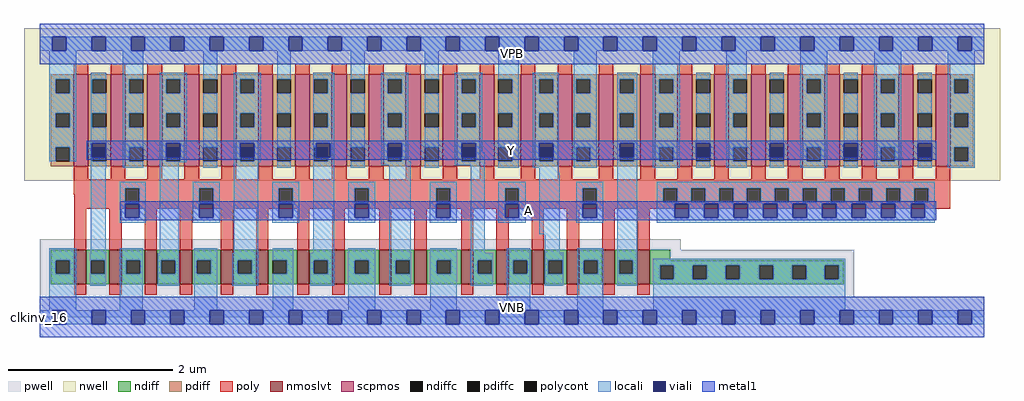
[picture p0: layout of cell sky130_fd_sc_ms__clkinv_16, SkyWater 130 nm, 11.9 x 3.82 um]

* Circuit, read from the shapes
.subckt sky130_fd_sc_ms__clkinv_16 A VGND VNB VPB VPWR Y
XM1 Y A VGND VNB sky130_fd_pr__nfet_01v8_lvt w=0.42 l=0.15 m=16
XM2 Y A VPWR VPB sky130_fd_pr__pfet_01v8 w=1.12 l=0.18 m=24
.ends

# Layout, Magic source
magic
tech sky130A
magscale 1 2
<< nwell >>
rect -38 332 2342 704
<< pwell >>
rect 1 164 1564 190
rect 1 49 1987 164
rect 0 0 2304 49
<< scpmos >>
rect 83 368 119 592
rect 173 368 209 592
rect 263 368 299 592
rect 353 368 389 592
rect 443 368 479 592
rect 533 368 569 592
rect 623 368 659 592
rect 713 368 749 592
rect 803 368 839 592
rect 893 368 929 592
rect 983 368 1019 592
rect 1073 368 1109 592
rect 1173 368 1209 592
rect 1263 368 1299 592
rect 1363 368 1399 592
rect 1465 368 1501 592
rect 1555 368 1591 592
rect 1645 368 1681 592
rect 1735 368 1771 592
rect 1825 368 1861 592
rect 1915 368 1951 592
rect 2005 368 2041 592
rect 2095 368 2131 592
rect 2185 368 2221 592
<< nmoslvt >>
rect 84 80 114 164
rect 170 80 200 164
rect 256 80 286 164
rect 342 80 372 164
rect 442 80 472 164
rect 528 80 558 164
rect 628 80 658 164
rect 714 80 744 164
rect 828 80 858 164
rect 914 80 944 164
rect 1028 80 1058 164
rect 1114 80 1144 164
rect 1200 80 1230 164
rect 1286 80 1316 164
rect 1372 80 1402 164
rect 1458 80 1488 164
<< ndiff >>
rect 27 139 84 164
rect 27 105 39 139
rect 73 105 84 139
rect 27 80 84 105
rect 114 139 170 164
rect 114 105 125 139
rect 159 105 170 139
rect 114 80 170 105
rect 200 139 256 164
rect 200 105 211 139
rect 245 105 256 139
rect 200 80 256 105
rect 286 139 342 164
rect 286 105 297 139
rect 331 105 342 139
rect 286 80 342 105
rect 372 139 442 164
rect 372 105 383 139
rect 417 105 442 139
rect 372 80 442 105
rect 472 139 528 164
rect 472 105 483 139
rect 517 105 528 139
rect 472 80 528 105
rect 558 139 628 164
rect 558 105 569 139
rect 603 105 628 139
rect 558 80 628 105
rect 658 139 714 164
rect 658 105 669 139
rect 703 105 714 139
rect 658 80 714 105
rect 744 139 828 164
rect 744 105 769 139
rect 803 105 828 139
rect 744 80 828 105
rect 858 139 914 164
rect 858 105 869 139
rect 903 105 914 139
rect 858 80 914 105
rect 944 139 1028 164
rect 944 105 969 139
rect 1003 105 1028 139
rect 944 80 1028 105
rect 1058 139 1114 164
rect 1058 105 1069 139
rect 1103 105 1114 139
rect 1058 80 1114 105
rect 1144 139 1200 164
rect 1144 105 1155 139
rect 1189 105 1200 139
rect 1144 80 1200 105
rect 1230 139 1286 164
rect 1230 105 1241 139
rect 1275 105 1286 139
rect 1230 80 1286 105
rect 1316 139 1372 164
rect 1316 105 1327 139
rect 1361 105 1372 139
rect 1316 80 1372 105
rect 1402 139 1458 164
rect 1402 105 1413 139
rect 1447 105 1458 139
rect 1402 80 1458 105
rect 1488 138 1538 164
rect 1488 126 1961 138
rect 1488 92 1513 126
rect 1547 92 1593 126
rect 1627 92 1673 126
rect 1707 92 1755 126
rect 1789 92 1835 126
rect 1869 92 1915 126
rect 1949 92 1961 126
rect 1488 80 1961 92
<< pdiff >>
rect 27 580 83 592
rect 27 546 39 580
rect 73 546 83 580
rect 27 497 83 546
rect 27 463 39 497
rect 73 463 83 497
rect 27 414 83 463
rect 27 380 39 414
rect 73 380 83 414
rect 27 368 83 380
rect 119 580 173 592
rect 119 546 129 580
rect 163 546 173 580
rect 119 497 173 546
rect 119 463 129 497
rect 163 463 173 497
rect 119 414 173 463
rect 119 380 129 414
rect 163 380 173 414
rect 119 368 173 380
rect 209 580 263 592
rect 209 546 219 580
rect 253 546 263 580
rect 209 497 263 546
rect 209 463 219 497
rect 253 463 263 497
rect 209 414 263 463
rect 209 380 219 414
rect 253 380 263 414
rect 209 368 263 380
rect 299 580 353 592
rect 299 546 309 580
rect 343 546 353 580
rect 299 497 353 546
rect 299 463 309 497
rect 343 463 353 497
rect 299 414 353 463
rect 299 380 309 414
rect 343 380 353 414
rect 299 368 353 380
rect 389 580 443 592
rect 389 546 399 580
rect 433 546 443 580
rect 389 497 443 546
rect 389 463 399 497
rect 433 463 443 497
rect 389 414 443 463
rect 389 380 399 414
rect 433 380 443 414
rect 389 368 443 380
rect 479 580 533 592
rect 479 546 489 580
rect 523 546 533 580
rect 479 497 533 546
rect 479 463 489 497
rect 523 463 533 497
rect 479 414 533 463
rect 479 380 489 414
rect 523 380 533 414
rect 479 368 533 380
rect 569 580 623 592
rect 569 546 579 580
rect 613 546 623 580
rect 569 497 623 546
rect 569 463 579 497
rect 613 463 623 497
rect 569 414 623 463
rect 569 380 579 414
rect 613 380 623 414
rect 569 368 623 380
rect 659 580 713 592
rect 659 546 669 580
rect 703 546 713 580
rect 659 497 713 546
rect 659 463 669 497
rect 703 463 713 497
rect 659 414 713 463
rect 659 380 669 414
rect 703 380 713 414
rect 659 368 713 380
rect 749 580 803 592
rect 749 546 759 580
rect 793 546 803 580
rect 749 497 803 546
rect 749 463 759 497
rect 793 463 803 497
rect 749 414 803 463
rect 749 380 759 414
rect 793 380 803 414
rect 749 368 803 380
rect 839 580 893 592
rect 839 546 849 580
rect 883 546 893 580
rect 839 497 893 546
rect 839 463 849 497
rect 883 463 893 497
rect 839 414 893 463
rect 839 380 849 414
rect 883 380 893 414
rect 839 368 893 380
rect 929 580 983 592
rect 929 546 939 580
rect 973 546 983 580
rect 929 497 983 546
rect 929 463 939 497
rect 973 463 983 497
rect 929 414 983 463
rect 929 380 939 414
rect 973 380 983 414
rect 929 368 983 380
rect 1019 580 1073 592
rect 1019 546 1029 580
rect 1063 546 1073 580
rect 1019 497 1073 546
rect 1019 463 1029 497
rect 1063 463 1073 497
rect 1019 414 1073 463
rect 1019 380 1029 414
rect 1063 380 1073 414
rect 1019 368 1073 380
rect 1109 580 1173 592
rect 1109 546 1119 580
rect 1153 546 1173 580
rect 1109 497 1173 546
rect 1109 463 1119 497
rect 1153 463 1173 497
rect 1109 414 1173 463
rect 1109 380 1119 414
rect 1153 380 1173 414
rect 1109 368 1173 380
rect 1209 580 1263 592
rect 1209 546 1219 580
rect 1253 546 1263 580
rect 1209 497 1263 546
rect 1209 463 1219 497
rect 1253 463 1263 497
rect 1209 414 1263 463
rect 1209 380 1219 414
rect 1253 380 1263 414
rect 1209 368 1263 380
rect 1299 580 1363 592
rect 1299 546 1309 580
rect 1343 546 1363 580
rect 1299 497 1363 546
rect 1299 463 1309 497
rect 1343 463 1363 497
rect 1299 414 1363 463
rect 1299 380 1309 414
rect 1343 380 1363 414
rect 1299 368 1363 380
rect 1399 580 1465 592
rect 1399 546 1415 580
rect 1449 546 1465 580
rect 1399 497 1465 546
rect 1399 463 1415 497
rect 1449 463 1465 497
rect 1399 414 1465 463
rect 1399 380 1415 414
rect 1449 380 1465 414
rect 1399 368 1465 380
rect 1501 580 1555 592
rect 1501 546 1511 580
rect 1545 546 1555 580
rect 1501 497 1555 546
rect 1501 463 1511 497
rect 1545 463 1555 497
rect 1501 414 1555 463
rect 1501 380 1511 414
rect 1545 380 1555 414
rect 1501 368 1555 380
rect 1591 580 1645 592
rect 1591 546 1601 580
rect 1635 546 1645 580
rect 1591 497 1645 546
rect 1591 463 1601 497
rect 1635 463 1645 497
rect 1591 414 1645 463
rect 1591 380 1601 414
rect 1635 380 1645 414
rect 1591 368 1645 380
rect 1681 580 1735 592
rect 1681 546 1691 580
rect 1725 546 1735 580
rect 1681 497 1735 546
rect 1681 463 1691 497
rect 1725 463 1735 497
rect 1681 414 1735 463
rect 1681 380 1691 414
rect 1725 380 1735 414
rect 1681 368 1735 380
rect 1771 580 1825 592
rect 1771 546 1781 580
rect 1815 546 1825 580
rect 1771 497 1825 546
rect 1771 463 1781 497
rect 1815 463 1825 497
rect 1771 414 1825 463
rect 1771 380 1781 414
rect 1815 380 1825 414
rect 1771 368 1825 380
rect 1861 580 1915 592
rect 1861 546 1871 580
rect 1905 546 1915 580
rect 1861 497 1915 546
rect 1861 463 1871 497
rect 1905 463 1915 497
rect 1861 414 1915 463
rect 1861 380 1871 414
rect 1905 380 1915 414
rect 1861 368 1915 380
rect 1951 580 2005 592
rect 1951 546 1961 580
rect 1995 546 2005 580
rect 1951 497 2005 546
rect 1951 463 1961 497
rect 1995 463 2005 497
rect 1951 414 2005 463
rect 1951 380 1961 414
rect 1995 380 2005 414
rect 1951 368 2005 380
rect 2041 580 2095 592
rect 2041 546 2051 580
rect 2085 546 2095 580
rect 2041 497 2095 546
rect 2041 463 2051 497
rect 2085 463 2095 497
rect 2041 414 2095 463
rect 2041 380 2051 414
rect 2085 380 2095 414
rect 2041 368 2095 380
rect 2131 580 2185 592
rect 2131 546 2141 580
rect 2175 546 2185 580
rect 2131 497 2185 546
rect 2131 463 2141 497
rect 2175 463 2185 497
rect 2131 414 2185 463
rect 2131 380 2141 414
rect 2175 380 2185 414
rect 2131 368 2185 380
rect 2221 580 2277 592
rect 2221 546 2231 580
rect 2265 546 2277 580
rect 2221 497 2277 546
rect 2221 463 2231 497
rect 2265 463 2277 497
rect 2221 414 2277 463
rect 2221 380 2231 414
rect 2265 380 2277 414
rect 2221 368 2277 380
<< ndiffc >>
rect 39 105 73 139
rect 125 105 159 139
rect 211 105 245 139
rect 297 105 331 139
rect 383 105 417 139
rect 483 105 517 139
rect 569 105 603 139
rect 669 105 703 139
rect 769 105 803 139
rect 869 105 903 139
rect 969 105 1003 139
rect 1069 105 1103 139
rect 1155 105 1189 139
rect 1241 105 1275 139
rect 1327 105 1361 139
rect 1413 105 1447 139
rect 1513 92 1547 126
rect 1593 92 1627 126
rect 1673 92 1707 126
rect 1755 92 1789 126
rect 1835 92 1869 126
rect 1915 92 1949 126
<< pdiffc >>
rect 39 546 73 580
rect 39 463 73 497
rect 39 380 73 414
rect 129 546 163 580
rect 129 463 163 497
rect 129 380 163 414
rect 219 546 253 580
rect 219 463 253 497
rect 219 380 253 414
rect 309 546 343 580
rect 309 463 343 497
rect 309 380 343 414
rect 399 546 433 580
rect 399 463 433 497
rect 399 380 433 414
rect 489 546 523 580
rect 489 463 523 497
rect 489 380 523 414
rect 579 546 613 580
rect 579 463 613 497
rect 579 380 613 414
rect 669 546 703 580
rect 669 463 703 497
rect 669 380 703 414
rect 759 546 793 580
rect 759 463 793 497
rect 759 380 793 414
rect 849 546 883 580
rect 849 463 883 497
rect 849 380 883 414
rect 939 546 973 580
rect 939 463 973 497
rect 939 380 973 414
rect 1029 546 1063 580
rect 1029 463 1063 497
rect 1029 380 1063 414
rect 1119 546 1153 580
rect 1119 463 1153 497
rect 1119 380 1153 414
rect 1219 546 1253 580
rect 1219 463 1253 497
rect 1219 380 1253 414
rect 1309 546 1343 580
rect 1309 463 1343 497
rect 1309 380 1343 414
rect 1415 546 1449 580
rect 1415 463 1449 497
rect 1415 380 1449 414
rect 1511 546 1545 580
rect 1511 463 1545 497
rect 1511 380 1545 414
rect 1601 546 1635 580
rect 1601 463 1635 497
rect 1601 380 1635 414
rect 1691 546 1725 580
rect 1691 463 1725 497
rect 1691 380 1725 414
rect 1781 546 1815 580
rect 1781 463 1815 497
rect 1781 380 1815 414
rect 1871 546 1905 580
rect 1871 463 1905 497
rect 1871 380 1905 414
rect 1961 546 1995 580
rect 1961 463 1995 497
rect 1961 380 1995 414
rect 2051 546 2085 580
rect 2051 463 2085 497
rect 2051 380 2085 414
rect 2141 546 2175 580
rect 2141 463 2175 497
rect 2141 380 2175 414
rect 2231 546 2265 580
rect 2231 463 2265 497
rect 2231 380 2265 414
<< poly >>
rect 83 592 119 618
rect 173 592 209 618
rect 263 592 299 618
rect 353 592 389 618
rect 443 592 479 618
rect 533 592 569 618
rect 623 592 659 618
rect 713 592 749 618
rect 803 592 839 618
rect 893 592 929 618
rect 983 592 1019 618
rect 1073 592 1109 618
rect 1173 592 1209 618
rect 1263 592 1299 618
rect 1363 592 1399 618
rect 1465 592 1501 618
rect 1555 592 1591 618
rect 1645 592 1681 618
rect 1735 592 1771 618
rect 1825 592 1861 618
rect 1915 592 1951 618
rect 2005 592 2041 618
rect 2095 592 2131 618
rect 2185 592 2221 618
rect 83 336 119 368
rect 173 336 209 368
rect 263 336 299 368
rect 353 336 389 368
rect 443 336 479 368
rect 533 336 569 368
rect 623 336 659 368
rect 713 336 749 368
rect 803 336 839 368
rect 893 336 929 368
rect 983 336 1019 368
rect 1073 336 1109 368
rect 1173 336 1209 368
rect 1263 336 1299 368
rect 1363 336 1399 368
rect 1465 336 1501 368
rect 1555 336 1591 368
rect 1645 336 1681 368
rect 1735 336 1771 368
rect 1825 336 1861 368
rect 1915 336 1951 368
rect 2005 336 2041 368
rect 2095 336 2131 368
rect 2185 336 2221 368
rect 83 314 2221 336
rect 83 300 209 314
rect 84 280 209 300
rect 243 280 389 314
rect 423 280 583 314
rect 617 280 769 314
rect 803 280 967 314
rect 1001 280 1135 314
rect 1169 280 1325 314
rect 1359 280 1521 314
rect 1555 280 1589 314
rect 1623 280 1657 314
rect 1691 280 1725 314
rect 1759 280 1793 314
rect 1827 280 1861 314
rect 1895 280 1929 314
rect 1963 280 1997 314
rect 2031 280 2065 314
rect 2099 280 2133 314
rect 2167 280 2221 314
rect 84 264 2221 280
rect 84 164 114 264
rect 170 164 200 264
rect 256 164 286 264
rect 342 164 372 264
rect 442 164 472 264
rect 528 164 558 264
rect 628 164 658 264
rect 714 164 744 264
rect 828 164 858 264
rect 914 164 944 264
rect 1028 164 1058 264
rect 1114 164 1144 264
rect 1200 164 1230 264
rect 1286 164 1316 264
rect 1372 164 1402 264
rect 1458 164 1488 264
rect 84 54 114 80
rect 170 54 200 80
rect 256 54 286 80
rect 342 54 372 80
rect 442 54 472 80
rect 528 54 558 80
rect 628 54 658 80
rect 714 54 744 80
rect 828 54 858 80
rect 914 54 944 80
rect 1028 54 1058 80
rect 1114 54 1144 80
rect 1200 54 1230 80
rect 1286 54 1316 80
rect 1372 54 1402 80
rect 1458 54 1488 80
<< polycont >>
rect 209 280 243 314
rect 389 280 423 314
rect 583 280 617 314
rect 769 280 803 314
rect 967 280 1001 314
rect 1135 280 1169 314
rect 1325 280 1359 314
rect 1521 280 1555 314
rect 1589 280 1623 314
rect 1657 280 1691 314
rect 1725 280 1759 314
rect 1793 280 1827 314
rect 1861 280 1895 314
rect 1929 280 1963 314
rect 1997 280 2031 314
rect 2065 280 2099 314
rect 2133 280 2167 314
<< locali >>
rect 0 649 31 683
rect 65 649 127 683
rect 161 649 223 683
rect 257 649 319 683
rect 353 649 415 683
rect 449 649 511 683
rect 545 649 607 683
rect 641 649 703 683
rect 737 649 799 683
rect 833 649 895 683
rect 929 649 991 683
rect 1025 649 1087 683
rect 1121 649 1183 683
rect 1217 649 1279 683
rect 1313 649 1375 683
rect 1409 649 1471 683
rect 1505 649 1567 683
rect 1601 649 1663 683
rect 1697 649 1759 683
rect 1793 649 1855 683
rect 1889 649 1951 683
rect 1985 649 2047 683
rect 2081 649 2143 683
rect 2177 649 2239 683
rect 2273 649 2304 683
rect 23 580 89 649
rect 23 546 39 580
rect 73 546 89 580
rect 23 497 89 546
rect 23 463 39 497
rect 73 463 89 497
rect 23 414 89 463
rect 23 380 39 414
rect 73 380 89 414
rect 125 580 163 596
rect 125 546 129 580
rect 125 497 163 546
rect 125 463 129 497
rect 125 424 163 463
rect 125 390 127 424
rect 161 414 163 424
rect 125 380 129 390
rect 125 364 163 380
rect 203 580 253 649
rect 203 546 219 580
rect 203 497 253 546
rect 203 463 219 497
rect 203 414 253 463
rect 203 380 219 414
rect 203 364 253 380
rect 293 580 359 596
rect 293 546 309 580
rect 343 546 359 580
rect 293 497 359 546
rect 293 463 309 497
rect 343 463 359 497
rect 293 424 359 463
rect 293 380 309 424
rect 343 380 359 424
rect 293 377 359 380
rect 399 580 433 649
rect 399 497 433 546
rect 399 414 433 463
rect 23 139 89 168
rect 125 155 161 364
rect 195 314 259 330
rect 195 280 209 314
rect 243 280 259 314
rect 195 276 259 280
rect 195 242 209 276
rect 243 242 259 276
rect 195 230 259 242
rect 23 105 39 139
rect 73 105 89 139
rect 23 17 89 105
rect 123 139 161 155
rect 123 105 125 139
rect 159 105 161 139
rect 123 76 161 105
rect 195 139 252 168
rect 293 155 339 377
rect 399 364 433 380
rect 473 580 539 596
rect 473 546 489 580
rect 523 546 539 580
rect 473 497 539 546
rect 473 463 489 497
rect 523 463 539 497
rect 473 424 539 463
rect 473 380 489 424
rect 523 380 539 424
rect 473 377 539 380
rect 579 580 613 649
rect 579 497 613 546
rect 579 414 613 463
rect 373 314 439 330
rect 373 280 389 314
rect 423 280 439 314
rect 373 276 439 280
rect 373 242 389 276
rect 423 242 439 276
rect 373 230 439 242
rect 195 105 211 139
rect 245 105 252 139
rect 195 17 252 105
rect 288 139 340 155
rect 288 105 297 139
rect 331 105 340 139
rect 288 76 340 105
rect 377 139 433 168
rect 473 155 533 377
rect 579 364 613 380
rect 667 580 719 596
rect 667 546 669 580
rect 703 546 719 580
rect 667 497 719 546
rect 667 463 669 497
rect 703 463 719 497
rect 667 424 719 463
rect 667 414 675 424
rect 667 380 669 414
rect 709 390 719 424
rect 703 380 719 390
rect 567 314 633 330
rect 567 280 583 314
rect 617 280 633 314
rect 567 276 633 280
rect 567 242 583 276
rect 617 242 633 276
rect 567 230 633 242
rect 377 105 383 139
rect 417 105 433 139
rect 377 17 433 105
rect 470 139 533 155
rect 470 105 483 139
rect 517 105 533 139
rect 470 76 533 105
rect 569 139 619 168
rect 667 155 719 380
rect 759 580 793 649
rect 759 497 793 546
rect 759 414 793 463
rect 759 364 793 380
rect 833 580 899 596
rect 833 546 849 580
rect 883 546 899 580
rect 833 497 899 546
rect 833 463 849 497
rect 883 463 899 497
rect 833 424 899 463
rect 833 380 849 424
rect 883 380 899 424
rect 939 580 973 649
rect 939 497 973 546
rect 939 414 973 463
rect 833 370 905 380
rect 753 314 819 330
rect 753 280 769 314
rect 803 280 819 314
rect 753 276 819 280
rect 753 242 769 276
rect 803 242 819 276
rect 753 230 819 242
rect 603 105 619 139
rect 569 17 619 105
rect 660 139 719 155
rect 660 105 669 139
rect 703 105 719 139
rect 660 76 719 105
rect 753 139 819 168
rect 753 105 769 139
rect 803 105 819 139
rect 753 17 819 105
rect 853 139 905 370
rect 939 364 973 380
rect 1013 580 1079 596
rect 1013 546 1029 580
rect 1063 546 1079 580
rect 1013 497 1079 546
rect 1013 463 1029 497
rect 1063 463 1079 497
rect 1013 424 1079 463
rect 1013 380 1029 424
rect 1063 402 1079 424
rect 1119 580 1169 649
rect 1153 546 1169 580
rect 1119 497 1169 546
rect 1153 463 1169 497
rect 1119 414 1169 463
rect 1063 380 1085 402
rect 1013 370 1085 380
rect 951 314 1017 330
rect 951 280 967 314
rect 1001 280 1017 314
rect 951 276 1017 280
rect 951 242 967 276
rect 1001 242 1017 276
rect 951 230 1017 242
rect 853 105 869 139
rect 903 105 905 139
rect 853 76 905 105
rect 953 139 1017 168
rect 953 105 969 139
rect 1003 105 1017 139
rect 953 17 1017 105
rect 1051 155 1085 370
rect 1153 380 1169 414
rect 1119 364 1169 380
rect 1203 580 1266 596
rect 1203 546 1219 580
rect 1253 546 1266 580
rect 1203 497 1266 546
rect 1203 463 1219 497
rect 1253 463 1266 497
rect 1203 424 1266 463
rect 1203 380 1219 424
rect 1253 380 1266 424
rect 1203 364 1266 380
rect 1302 580 1359 649
rect 1302 546 1309 580
rect 1343 546 1359 580
rect 1302 497 1359 546
rect 1302 463 1309 497
rect 1343 463 1359 497
rect 1302 414 1359 463
rect 1302 380 1309 414
rect 1343 380 1359 414
rect 1302 364 1359 380
rect 1409 580 1458 596
rect 1409 546 1415 580
rect 1449 546 1458 580
rect 1409 497 1458 546
rect 1409 463 1415 497
rect 1449 463 1458 497
rect 1409 424 1458 463
rect 1409 380 1415 424
rect 1449 380 1458 424
rect 1219 352 1266 364
rect 1119 314 1185 330
rect 1119 280 1135 314
rect 1169 280 1185 314
rect 1119 276 1185 280
rect 1119 242 1135 276
rect 1169 242 1185 276
rect 1119 230 1185 242
rect 1219 202 1268 352
rect 1309 314 1375 330
rect 1309 280 1325 314
rect 1359 280 1375 314
rect 1309 276 1375 280
rect 1309 242 1325 276
rect 1359 242 1375 276
rect 1309 230 1375 242
rect 1051 139 1105 155
rect 1051 105 1069 139
rect 1103 105 1105 139
rect 1051 76 1105 105
rect 1139 139 1196 168
rect 1139 105 1155 139
rect 1189 105 1196 139
rect 1139 17 1196 105
rect 1232 157 1268 202
rect 1232 139 1277 157
rect 1232 105 1241 139
rect 1275 105 1277 139
rect 1232 76 1277 105
rect 1311 139 1375 168
rect 1311 105 1327 139
rect 1361 105 1375 139
rect 1311 17 1375 105
rect 1409 139 1458 380
rect 1495 580 1561 649
rect 1495 546 1511 580
rect 1545 546 1561 580
rect 1495 497 1561 546
rect 1495 463 1511 497
rect 1545 463 1561 497
rect 1495 414 1561 463
rect 1495 380 1511 414
rect 1545 380 1561 414
rect 1495 364 1561 380
rect 1601 580 1635 596
rect 1601 497 1635 546
rect 1601 424 1635 463
rect 1601 364 1635 380
rect 1675 580 1725 649
rect 1675 546 1691 580
rect 1675 497 1725 546
rect 1675 463 1691 497
rect 1675 414 1725 463
rect 1675 380 1691 414
rect 1675 364 1725 380
rect 1781 580 1815 596
rect 1781 497 1815 546
rect 1781 424 1815 463
rect 1781 364 1815 380
rect 1855 580 1921 649
rect 1855 546 1871 580
rect 1905 546 1921 580
rect 1855 497 1921 546
rect 1855 463 1871 497
rect 1905 463 1921 497
rect 1855 414 1921 463
rect 1855 380 1871 414
rect 1905 380 1921 414
rect 1855 364 1921 380
rect 1961 580 1995 596
rect 1961 497 1995 546
rect 1961 424 1995 463
rect 1961 364 1995 380
rect 2035 580 2101 649
rect 2035 546 2051 580
rect 2085 546 2101 580
rect 2035 497 2101 546
rect 2035 463 2051 497
rect 2085 463 2101 497
rect 2035 414 2101 463
rect 2035 380 2051 414
rect 2085 380 2101 414
rect 2035 364 2101 380
rect 2141 580 2175 596
rect 2141 497 2175 546
rect 2141 424 2175 463
rect 2141 364 2175 380
rect 2215 580 2281 649
rect 2215 546 2231 580
rect 2265 546 2281 580
rect 2215 497 2281 546
rect 2215 463 2231 497
rect 2265 463 2281 497
rect 2215 414 2281 463
rect 2215 380 2231 414
rect 2265 380 2281 414
rect 2215 364 2281 380
rect 1505 314 2183 330
rect 1505 280 1521 314
rect 1555 280 1589 314
rect 1623 280 1657 314
rect 1691 280 1725 314
rect 1759 280 1793 314
rect 1827 280 1861 314
rect 1895 280 1929 314
rect 1963 280 1997 314
rect 2031 280 2065 314
rect 2099 280 2133 314
rect 2167 280 2183 314
rect 1505 276 2183 280
rect 1505 242 1549 276
rect 1583 242 1621 276
rect 1655 242 1693 276
rect 1727 242 1765 276
rect 1799 242 1837 276
rect 1871 242 1909 276
rect 1943 242 1981 276
rect 2015 242 2053 276
rect 2087 242 2125 276
rect 2159 242 2183 276
rect 1505 230 2183 242
rect 1409 105 1413 139
rect 1447 105 1458 139
rect 1409 76 1458 105
rect 1497 126 1965 142
rect 1497 92 1513 126
rect 1547 92 1593 126
rect 1627 92 1673 126
rect 1707 92 1755 126
rect 1789 92 1835 126
rect 1869 92 1915 126
rect 1949 92 1965 126
rect 1497 17 1965 92
rect 0 -17 31 17
rect 65 -17 127 17
rect 161 -17 223 17
rect 257 -17 319 17
rect 353 -17 415 17
rect 449 -17 511 17
rect 545 -17 607 17
rect 641 -17 703 17
rect 737 -17 799 17
rect 833 -17 895 17
rect 929 -17 991 17
rect 1025 -17 1087 17
rect 1121 -17 1183 17
rect 1217 -17 1279 17
rect 1313 -17 1375 17
rect 1409 -17 1471 17
rect 1505 -17 1567 17
rect 1601 -17 1663 17
rect 1697 -17 1759 17
rect 1793 -17 1855 17
rect 1889 -17 1951 17
rect 1985 -17 2047 17
rect 2081 -17 2143 17
rect 2177 -17 2239 17
rect 2273 -17 2304 17
<< viali >>
rect 31 649 65 683
rect 127 649 161 683
rect 223 649 257 683
rect 319 649 353 683
rect 415 649 449 683
rect 511 649 545 683
rect 607 649 641 683
rect 703 649 737 683
rect 799 649 833 683
rect 895 649 929 683
rect 991 649 1025 683
rect 1087 649 1121 683
rect 1183 649 1217 683
rect 1279 649 1313 683
rect 1375 649 1409 683
rect 1471 649 1505 683
rect 1567 649 1601 683
rect 1663 649 1697 683
rect 1759 649 1793 683
rect 1855 649 1889 683
rect 1951 649 1985 683
rect 2047 649 2081 683
rect 2143 649 2177 683
rect 2239 649 2273 683
rect 127 414 161 424
rect 127 390 129 414
rect 129 390 161 414
rect 309 414 343 424
rect 309 390 343 414
rect 209 242 243 276
rect 489 414 523 424
rect 489 390 523 414
rect 389 242 423 276
rect 675 414 709 424
rect 675 390 703 414
rect 703 390 709 414
rect 583 242 617 276
rect 849 414 883 424
rect 849 390 883 414
rect 769 242 803 276
rect 1029 414 1063 424
rect 1029 390 1063 414
rect 967 242 1001 276
rect 1219 414 1253 424
rect 1219 390 1253 414
rect 1415 414 1449 424
rect 1415 390 1449 414
rect 1135 242 1169 276
rect 1325 242 1359 276
rect 1601 414 1635 424
rect 1601 390 1635 414
rect 1781 414 1815 424
rect 1781 390 1815 414
rect 1961 414 1995 424
rect 1961 390 1995 414
rect 2141 414 2175 424
rect 2141 390 2175 414
rect 1549 242 1583 276
rect 1621 242 1655 276
rect 1693 242 1727 276
rect 1765 242 1799 276
rect 1837 242 1871 276
rect 1909 242 1943 276
rect 1981 242 2015 276
rect 2053 242 2087 276
rect 2125 242 2159 276
rect 31 -17 65 17
rect 127 -17 161 17
rect 223 -17 257 17
rect 319 -17 353 17
rect 415 -17 449 17
rect 511 -17 545 17
rect 607 -17 641 17
rect 703 -17 737 17
rect 799 -17 833 17
rect 895 -17 929 17
rect 991 -17 1025 17
rect 1087 -17 1121 17
rect 1183 -17 1217 17
rect 1279 -17 1313 17
rect 1375 -17 1409 17
rect 1471 -17 1505 17
rect 1567 -17 1601 17
rect 1663 -17 1697 17
rect 1759 -17 1793 17
rect 1855 -17 1889 17
rect 1951 -17 1985 17
rect 2047 -17 2081 17
rect 2143 -17 2177 17
rect 2239 -17 2273 17
<< metal1 >>
rect 0 683 2304 715
rect 0 649 31 683
rect 65 649 127 683
rect 161 649 223 683
rect 257 649 319 683
rect 353 649 415 683
rect 449 649 511 683
rect 545 649 607 683
rect 641 649 703 683
rect 737 649 799 683
rect 833 649 895 683
rect 929 649 991 683
rect 1025 649 1087 683
rect 1121 649 1183 683
rect 1217 649 1279 683
rect 1313 649 1375 683
rect 1409 649 1471 683
rect 1505 649 1567 683
rect 1601 649 1663 683
rect 1697 649 1759 683
rect 1793 649 1855 683
rect 1889 649 1951 683
rect 1985 649 2047 683
rect 2081 649 2143 683
rect 2177 649 2239 683
rect 2273 649 2304 683
rect 0 617 2304 649
rect 115 424 2187 430
rect 115 390 127 424
rect 161 390 309 424
rect 343 390 489 424
rect 523 390 675 424
rect 709 390 849 424
rect 883 390 1029 424
rect 1063 390 1219 424
rect 1253 390 1415 424
rect 1449 390 1601 424
rect 1635 390 1781 424
rect 1815 390 1961 424
rect 1995 390 2141 424
rect 2175 390 2187 424
rect 115 384 2187 390
rect 197 276 2187 282
rect 197 242 209 276
rect 243 242 389 276
rect 423 242 583 276
rect 617 242 769 276
rect 803 242 967 276
rect 1001 242 1135 276
rect 1169 242 1325 276
rect 1359 242 1549 276
rect 1583 242 1621 276
rect 1655 242 1693 276
rect 1727 242 1765 276
rect 1799 242 1837 276
rect 1871 242 1909 276
rect 1943 242 1981 276
rect 2015 242 2053 276
rect 2087 242 2125 276
rect 2159 242 2187 276
rect 197 236 2187 242
rect 0 17 2304 49
rect 0 -17 31 17
rect 65 -17 127 17
rect 161 -17 223 17
rect 257 -17 319 17
rect 353 -17 415 17
rect 449 -17 511 17
rect 545 -17 607 17
rect 641 -17 703 17
rect 737 -17 799 17
rect 833 -17 895 17
rect 929 -17 991 17
rect 1025 -17 1087 17
rect 1121 -17 1183 17
rect 1217 -17 1279 17
rect 1313 -17 1375 17
rect 1409 -17 1471 17
rect 1505 -17 1567 17
rect 1601 -17 1663 17
rect 1697 -17 1759 17
rect 1793 -17 1855 17
rect 1889 -17 1951 17
rect 1985 -17 2047 17
rect 2081 -17 2143 17
rect 2177 -17 2239 17
rect 2273 -17 2304 17
rect 0 -49 2304 -17
<< labels >>
flabel pwell s 0 0 2304 49 0 FreeSans 200 0 0 0 VNB
port 3 nsew ground bidirectional
flabel nwell s 0 617 2304 666 0 FreeSans 200 0 0 0 VPB
port 4 nsew power bidirectional
rlabel comment s 0 0 0 0 4 clkinv_16
flabel metal1 s 0 617 2304 666 0 FreeSans 340 0 0 0 VPWR
port 5 nsew power bidirectional
flabel metal1 s 0 0 2304 49 0 FreeSans 340 0 0 0 VGND
port 2 nsew ground bidirectional
flabel metal1 s 197 236 2187 282 0 FreeSans 400 0 0 0 A
port 1 nsew signal input
flabel metal1 s 115 384 2187 430 0 FreeSans 400 0 0 0 Y
port 6 nsew signal output
<< properties >>
string LEFsite unit
string LEFclass CORE
string FIXED_BBOX 0 0 2304 666
string GDS_FILE $PDKPATH/libs.ref/sky130_fd_sc_ms/gds/sky130_fd_sc_ms.gds
string LEFsymmetry X Y
string GDS_END 2675646
string GDS_START 2658066
<< end >>
